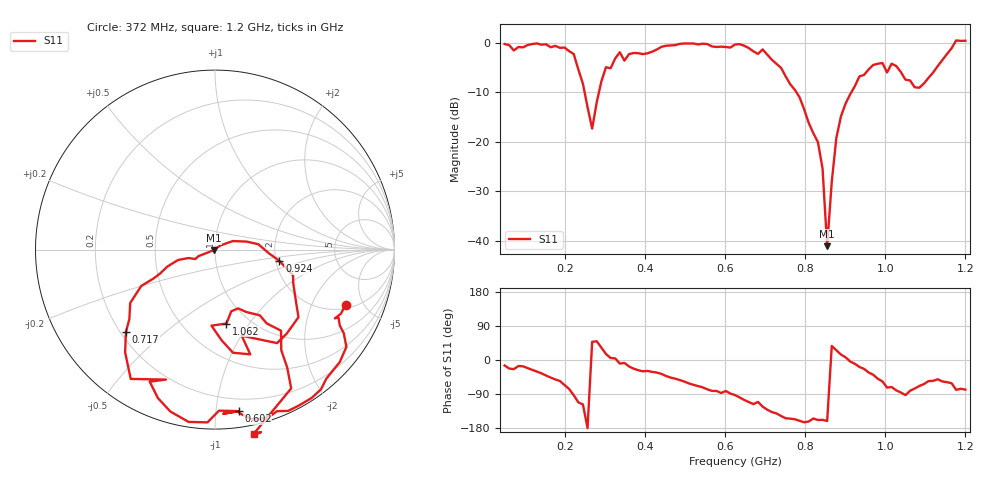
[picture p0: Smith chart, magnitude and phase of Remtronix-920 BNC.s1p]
# HZ S RI R 50
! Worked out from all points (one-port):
!   101 points, 50 MHz to 1.2 GHz, reference 50 ohm
!   lowest |S11| = -41.1 dB at 855 MHz (marker M1), VSWR 1.02, Z = 49.2 - j0.28 ohm
!   |S11| at or under -10 dB: 249.7 MHz to 285.4 MHz (35.76 MHz wide, 13.4 % of centre); 778.3 MHz to 915.3 MHz (137 MHz wide, 16.2 % of centre)
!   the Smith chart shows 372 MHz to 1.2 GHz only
!   S11 on the Smith chart (normalised r, x): 372 MHz: 2.23, -3.65; 602 MHz: 0.11, -1.15; 717 MHz: 0.22, -0.37; 924 MHz: 2.09, -0.30; 1.062 GHz: 0.79, -0.79; 1.2 GHz: -0.06, -1.23
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5e7  0.9436 -0.244
1.305e8  0.851 -0.5009
1.995e8  0.3647 -0.8201
2.225e8  -0.0388 -0.7712
2.34e8  -0.1997 -0.5003
2.57e8  -0.2233 -0.000251
2.685e8  0.0909 0.1008
3.03e8  0.546 0.1551
3.375e8  0.7937 -0.1312
3.72e8  0.7282 -0.3073
4.87e8  0.5906 -0.7786
6.02e8  0.1313 -0.8997
6.25e8  -0.0419 -0.9626
7.17e8  -0.4963 -0.4585
7.745e8  -0.3068 -0.1341
8.32e8  -0.092 -0.0365
8.435e8  -0.0498 -0.0201
8.55e8  -0.00829 -0.00285
8.78e8  0.0988 0.0475
9.125e8  0.3014 -0.0215
9.24e8  0.3587 -0.0628
9.7e8  0.465 -0.3769
1.016e9  0.1966 -0.5837
1.062e9  0.0639 -0.4118
1.131e9  0.368 -0.4519
1.1655e9  0.4245 -0.7733
1.177e9  0.206 -1.038
1.2e9  0.2164 -1.028
